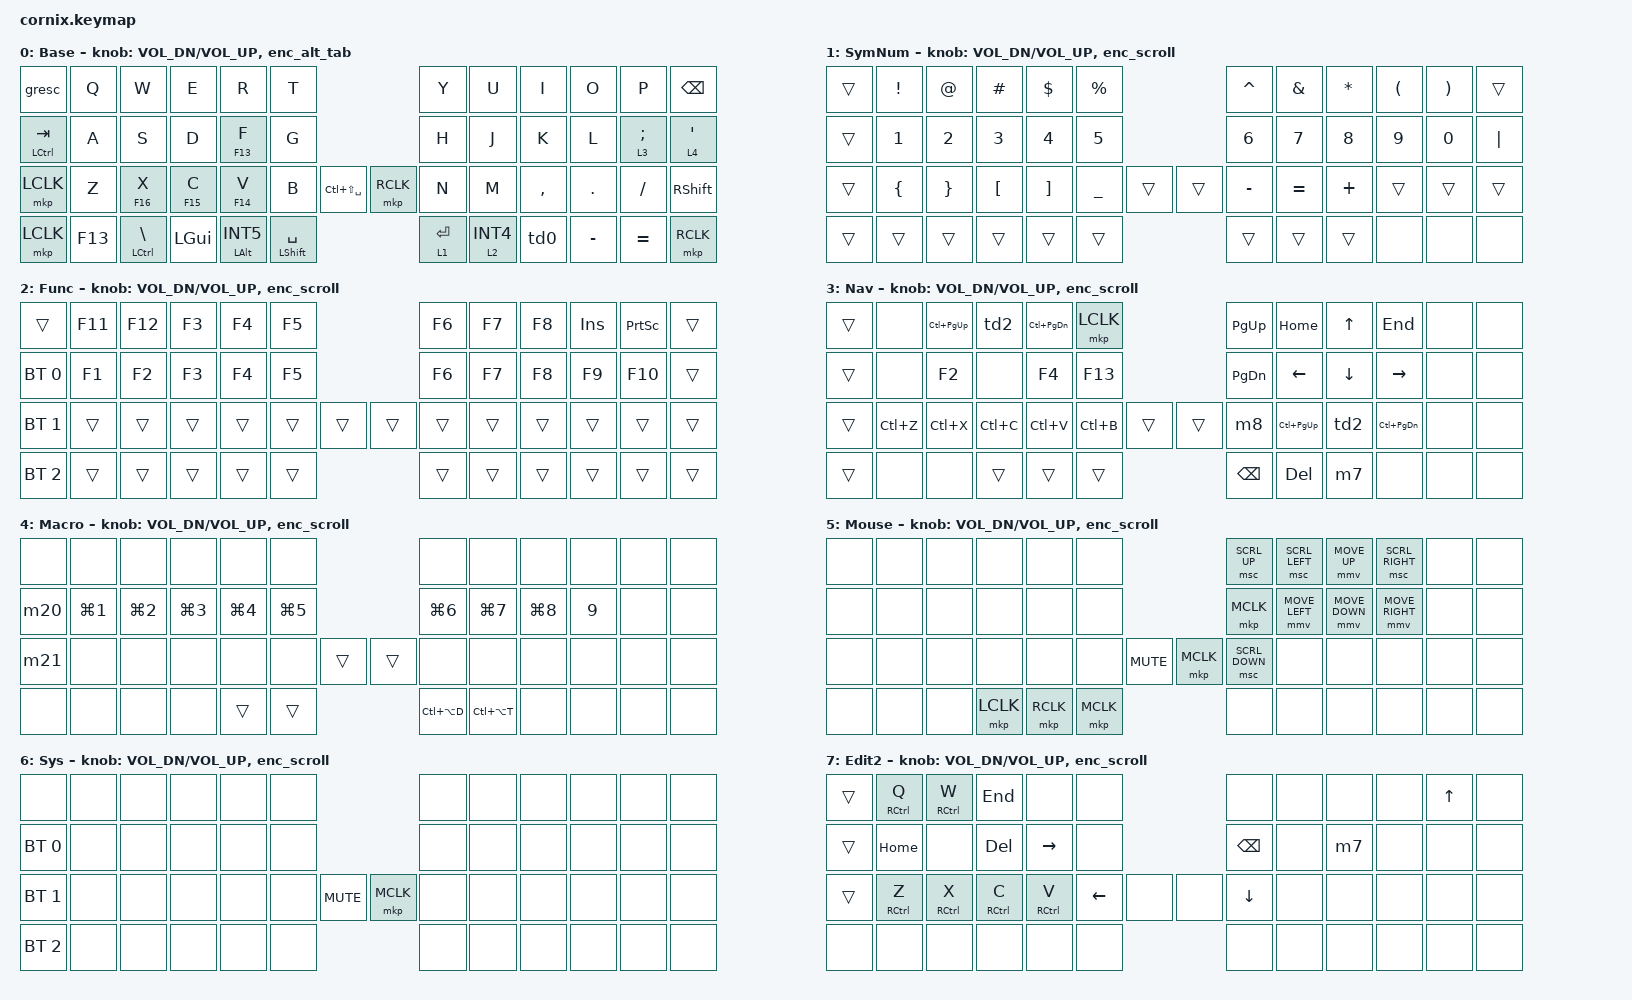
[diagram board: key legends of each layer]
/*
 * Copyright (c) 2020 The ZMK Contributors
 *
 * SPDX-License-Identifier: MIT
 */

#include "zmk-helpers/helper.h"
#include "includes/cornix54.h"
#include <behaviors.dtsi>
#include <dt-bindings/zmk/bt.h>
#include <dt-bindings/zmk/keys.h>
#include <dt-bindings/zmk/pointing.h>

#define ZMK_POINTING_DEFAULT_SCRL_VAL 15

/ {
    behaviors {
        /* 1. もっさり解消・誤爆防止用の高速Hold-Tap（VialのPermissive Hold相当） */

        mt_fast: mod_tap_fast {
            compatible = "zmk,behavior-hold-tap";
            #binding-cells = <2>;
            flavor = "balanced";
            tapping-term-ms = <155>;
            quick-tap-ms = <120>;
            bindings = <&kp>, <&kp>;
        };

        lt_fast: layer_tap_fast {
            compatible = "zmk,behavior-hold-tap";
            #binding-cells = <2>;
            flavor = "balanced";
            tapping-term-ms = <155>;
            quick-tap-ms = <120>;
            bindings = <&mo>, <&kp>;
        };

        /* 2. Tap Dance 定義（.vil の TD0〜TD7 を再現） */

        td0: tap_dance_0 {
            compatible = "zmk,behavior-tap-dance";
            #binding-cells = <0>;
            tapping-term-ms = <180>;
            bindings = <&kp INT5>, <&kp INT4>;
 /* 1回:無変換 / 2回:変換 */
        };

        td2: tap_dance_2 {
            compatible = "zmk,behavior-tap-dance";
            #binding-cells = <0>;
            tapping-term-ms = <180>;
            bindings = <&kp LC(PAGE_DOWN)>, <&kp LC(PAGE_UP)>;
 /* 1回:Ctrl+Tab / 2回:Ctrl+Shift+Tab */
        };

        td_hold: tap_hold_keys {
            compatible = "zmk,behavior-hold-tap";
            #binding-cells = <2>;
            flavor = "tap-preferred";
            tapping-term-ms = <200>;
            quick-tap-ms = <150>;
            bindings = <&kp>, <&kp>;
        };

        /* 3. ロータリーエンコーダー用ビヘイビア */

        enc_alt_tab: encoder_alt_tab {
            compatible = "zmk,behavior-sensor-rotate";
            #sensor-binding-cells = <0>;
            bindings = <&kp LA(TAB)>, <&kp LS(LA(TAB))>;
        };

        enc_scroll: encoder_scroll {
            compatible = "zmk,behavior-sensor-rotate";
            #sensor-binding-cells = <0>;
            bindings = <&msc SCRL_UP>, <&msc SCRL_DOWN>;
        };
    };

    /* 4. コンボ定義（10番:P + 11番:BackSpace = Delete） */

    combos {
        compatible = "zmk,combos";

        combo_del {
            timeout-ms = <30>;
            require-prior-idle-ms = <100>;
            key-positions = <10 11>;
            bindings = <&kp DEL>;
        };
    };

    /* 5. マクロ定義（.vil の M0〜M21 を再現） */

    macros {
        m0: m0 {
            compatible = "zmk,behavior-macro";
            #binding-cells = <0>;
            bindings = <&kp LC(LS(SPACE))>;
        };

        m1: m1 {
            compatible = "zmk,behavior-macro";
            #binding-cells = <0>;
            bindings = <&kp LC(TAB)>;
        };

        m2: m2 {
            compatible = "zmk,behavior-macro";
            #binding-cells = <0>;
            bindings = <&kp LC(LS(TAB))>;
        };

        m3: m3 {
            compatible = "zmk,behavior-macro";
            #binding-cells = <0>;
            bindings = <&kp LC(PG_DN)>;
        };

        m4: m4 {
            compatible = "zmk,behavior-macro";
            #binding-cells = <0>;
            bindings = <&kp LC(PG_UP)>;
        };

        m5: m5 {
            compatible = "zmk,behavior-macro";
            #binding-cells = <0>;
            bindings = <&kp LC(LA(D))>;
        };

        m6: m6 {
            compatible = "zmk,behavior-macro";
            #binding-cells = <0>;
            bindings = <&kp LC(LA(T))>;
        };

        m7: m7 {
            compatible = "zmk,behavior-macro";
            #binding-cells = <0>;
            bindings = <&kp LA(K)>;
        };

        m8: m8 {
            compatible = "zmk,behavior-macro";
            #binding-cells = <0>;
            bindings = <&kp LC(Z)>;
        };

        m11: m11 {
            compatible = "zmk,behavior-macro";
            #binding-cells = <0>;
            bindings = <&kp LG(N1)>;
        };

        m12: m12 {
            compatible = "zmk,behavior-macro";
            #binding-cells = <0>;
            bindings = <&kp LG(N2)>;
        };

        m13: m13 {
            compatible = "zmk,behavior-macro";
            #binding-cells = <0>;
            bindings = <&kp LG(N3)>;
        };

        m14: m14 {
            compatible = "zmk,behavior-macro";
            #binding-cells = <0>;
            bindings = <&kp LG(N4)>;
        };

        m15: m15 {
            compatible = "zmk,behavior-macro";
            #binding-cells = <0>;
            bindings = <&kp LG(N5)>;
        };

        m16: m16 {
            compatible = "zmk,behavior-macro";
            #binding-cells = <0>;
            bindings = <&kp LG(N6)>;
        };

        m17: m17 {
            compatible = "zmk,behavior-macro";
            #binding-cells = <0>;
            bindings = <&kp LG(N7)>;
        };

        m18: m18 {
            compatible = "zmk,behavior-macro";
            #binding-cells = <0>;
            bindings = <&kp LG(N8)>;
        };

        m19: m19 {
            compatible = "zmk,behavior-macro";
            #binding-cells = <0>;
            bindings = <&kp LG(N9)>;
        };

        m20: m20 {
            compatible = "zmk,behavior-macro";
            #binding-cells = <0>;
            bindings = <&kp F17>;
        };

        m21: m21 {
            compatible = "zmk,behavior-macro";
            #binding-cells = <0>;
            bindings = <&kp F18>;
        };
    };

    keymap {
        compatible = "zmk,keymap";

        /* Layer 0: Base (50-key exact matrix mapping) */

        default_layer {
            display-name = "Base";
            bindings = <
&gresc              &kp Q    &kp W                &kp E           &kp R               &kp T                                               &kp Y           &kp U            &kp I      &kp O      &kp P            &kp BSPC
&mt_fast LCTRL TAB  &kp A    &kp S                &kp D           &td_hold F13 F      &kp G                                               &kp H           &kp J            &kp K      &kp L      &lt_fast 3 SEMI  &lt_fast 4 SQT
&mkp LCLK           &kp Z    &td_hold F16 X       &td_hold F15 C  &td_hold F14 V      &kp B                 &kp LC(LS(SPACE))  &mkp RCLK  &kp N           &kp M            &kp COMMA  &kp DOT    &kp FSLH         &kp RSHFT
&mkp LCLK           &kp F13  &mt_fast LCTRL BSLH  &kp LGUI        &mt_fast LALT INT5  &mt_fast LSHFT SPACE                                &lt_fast 1 RET  &lt_fast 2 INT4  &td0       &kp MINUS  &kp EQUAL        &mkp RCLK
            >;

            sensor-bindings = <&inc_dec_kp C_VOL_DN C_VOL_UP &enc_alt_tab>;
        };

        /* Layer 1: Symbols / Numbers */

        layer_1 {
            display-name = "SymNum";
            bindings = <
&trans  &kp EXCL  &kp AT    &kp HASH  &kp DLLR  &kp PRCNT                  &kp CARET  &kp AMPS   &kp ASTRK  &kp LPAR  &kp RPAR  &trans
&trans  &kp N1    &kp N2    &kp N3    &kp N4    &kp N5                     &kp N6     &kp N7     &kp N8     &kp N9    &kp N0    &kp PIPE
&trans  &kp LBRC  &kp RBRC  &kp LBKT  &kp RBKT  &kp UNDER  &trans  &trans  &kp MINUS  &kp EQUAL  &kp PLUS   &trans    &trans    &trans
&trans  &trans    &trans    &trans    &trans    &trans                     &trans     &trans     &trans     &none     &none     &none
            >;

            sensor-bindings = <&inc_dec_kp C_VOL_DN C_VOL_UP &enc_scroll>;
        };

        /* Layer 2: Function / BT */

        layer_2 {
            display-name = "Func";
            bindings = <
&trans        &kp F11  &kp F12  &kp F3  &kp F4  &kp F5                  &kp F6  &kp F7  &kp F8  &kp INS  &kp PRINTSCREEN  &trans
&bt BT_SEL 0  &kp F1   &kp F2   &kp F3  &kp F4  &kp F5                  &kp F6  &kp F7  &kp F8  &kp F9   &kp F10          &trans
&bt BT_SEL 1  &trans   &trans   &trans  &trans  &trans  &trans  &trans  &trans  &trans  &trans  &trans   &trans           &trans
&bt BT_SEL 2  &trans   &trans   &trans  &trans  &trans                  &trans  &trans  &trans  &trans   &trans           &trans
            >;

            sensor-bindings = <&inc_dec_kp C_VOL_DN C_VOL_UP &enc_scroll>;
        };

        /* Layer 3: Navigation / Edit */

        layer_3 {
            display-name = "Nav";
            bindings = <
&trans  &none      &kp LC(PAGE_UP)  &td2       &kp LC(PAGE_DOWN)  &mkp LCLK                  &kp PG_UP  &kp HOME         &kp UP    &kp END            &none  &none
&trans  &none      &kp F2           &none      &kp F4             &kp F13                    &kp PG_DN  &kp LEFT         &kp DOWN  &kp RIGHT          &none  &none
&trans  &kp LC(Z)  &kp LC(X)        &kp LC(C)  &kp LC(V)          &kp LC(B)  &trans  &trans  &m8        &kp LC(PAGE_UP)  &td2      &kp LC(PAGE_DOWN)  &none  &none
&trans  &none      &none            &trans     &trans             &trans                     &kp BSPC   &kp DEL          &m7       &none              &none  &none
            >;

            sensor-bindings = <&inc_dec_kp C_VOL_DN C_VOL_UP &enc_scroll>;
        };

        /* Layer 4: Macros */

        layer_4 {
            display-name = "Macro";
            bindings = <
&none  &none       &none       &none       &none       &none                       &none          &none          &none       &none   &none  &none
&m20   &kp LG(N1)  &kp LG(N2)  &kp LG(N3)  &kp LG(N4)  &kp LG(N5)                  &kp LG(N6)     &kp LG(N7)     &kp LG(N8)  &kp N9  &none  &none
&m21   &none       &none       &none       &none       &none       &trans  &trans  &none          &none          &none       &none   &none  &none
&none  &none       &none       &none       &trans      &trans                      &kp LC(LA(D))  &kp LC(LA(T))  &none       &none   &none  &none
            >;

            sensor-bindings = <&inc_dec_kp C_VOL_DN C_VOL_UP &enc_scroll>;
        };

        /* Layer 5: Mouse */

        layer_5 {
            display-name = "Mouse";
            bindings = <
&none  &none  &none  &none      &none      &none                             &msc SCRL_UP    &msc SCRL_LEFT  &mmv MOVE_UP    &msc SCRL_RIGHT  &none  &none
&none  &none  &none  &none      &none      &none                             &mkp MCLK       &mmv MOVE_LEFT  &mmv MOVE_DOWN  &mmv MOVE_RIGHT  &none  &none
&none  &none  &none  &none      &none      &none      &kp C_MUTE  &mkp MCLK  &msc SCRL_DOWN  &none           &none           &none            &none  &none
&none  &none  &none  &mkp LCLK  &mkp RCLK  &mkp MCLK                         &none           &none           &none           &none            &none  &none
            >;

            sensor-bindings = <&inc_dec_kp C_VOL_DN C_VOL_UP &enc_scroll>;
        };

        /* Layer 6: System */

        layer_6 {
            display-name = "Sys";
            bindings = <
&none         &none  &none  &none  &none  &none                         &none  &none  &none  &none  &none  &none
&bt BT_SEL 0  &none  &none  &none  &none  &none                         &none  &none  &none  &none  &none  &none
&bt BT_SEL 1  &none  &none  &none  &none  &none  &kp C_MUTE  &mkp MCLK  &none  &none  &none  &none  &none  &none
&bt BT_SEL 2  &none  &none  &none  &none  &none                         &none  &none  &none  &none  &none  &none
            >;

            sensor-bindings = <&inc_dec_kp C_VOL_DN C_VOL_UP &enc_scroll>;
        };

        /* Layer 7: Extra Edit */

        layer_7 {
            display-name = "Edit2";
            bindings = <
&trans  &mt_fast RCTRL Q  &mt_fast RCTRL W  &kp END           &none             &none                   &none     &none  &none  &none  &kp UP  &none
&trans  &kp HOME          &none             &kp DEL           &kp RIGHT         &none                   &kp BSPC  &none  &m7    &none  &none   &none
&trans  &mt_fast RCTRL Z  &mt_fast RCTRL X  &mt_fast RCTRL C  &mt_fast RCTRL V  &kp LEFT  &none  &none  &kp DOWN  &none  &none  &none  &none   &none
&none   &none             &none             &none             &none             &none                   &none     &none  &none  &none  &none   &none
            >;

            sensor-bindings = <&inc_dec_kp C_VOL_DN C_VOL_UP &enc_scroll>;
        };
    };
};
